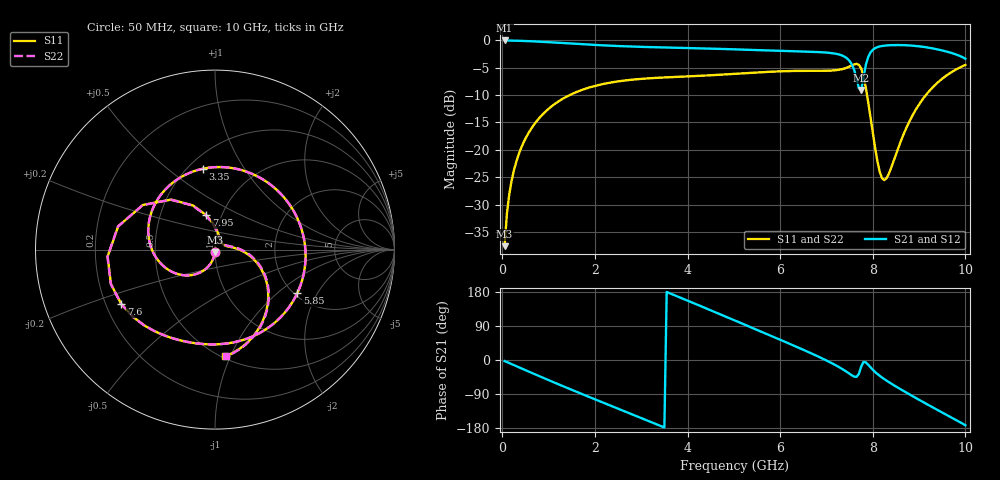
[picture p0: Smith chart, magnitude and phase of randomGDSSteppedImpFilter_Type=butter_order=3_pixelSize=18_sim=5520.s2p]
! freq	dB(S11)	phase(S11)	dB(S12)	phase(S12)
!  dB(S21)	phase(S21)	dB(S22)	phase(S22)
!S-par simulation data
#  GHz  S  DB  R 50
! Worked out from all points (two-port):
!   200 points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, 50 MHz to 10 GHz, reference 50 ohm
!   highest |S21| = -0.01 dB at 50 MHz (marker M1); lowest = -9.0 dB at 7.75 GHz (marker M2)
!   |S21| within 3 dB of the highest: start of sweep to 7.396 GHz; 7.903 GHz to 9.923 GHz (2.021 GHz wide, 22.7 % of centre)
!   lowest |S11| = -37.6 dB at 50 MHz (marker M3), VSWR 1.03, Z = 49.9 - j1.31 ohm
!   |S11| at or under -10 dB: start of sweep to 1.453 GHz; 7.877 GHz to 9.146 GHz (1.269 GHz wide, 14.9 % of centre)
!   |S22| runs from -37.6 to -4.3 dB; largest |S21 - S12| = 0
!   S11 on the Smith chart (normalised r, x): 50 MHz: 1.00, -0.03; 3.35 GHz: 0.59, +0.67; 5.85 GHz: 2.07, -1.38; 7.6 GHz: 0.26, -0.25; 7.95 GHz: 0.84, +0.34; 10 GHz: 0.52, -0.96
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0.05  -37.62 -92.2  -0.01 -2.7  -0.01 -2.7  -37.61 -92.2
0.2  -25.70 -100.9  -0.03 -10.8  -0.03 -10.8  -25.70 -100.9
0.5  -17.95 -117.3  -0.11 -26.9  -0.11 -26.9  -17.95 -117.3
1.15  -11.51 -151.5  -0.39 -60.9  -0.39 -60.9  -11.51 -151.5
1.75  -8.96 178.0  -0.71 -91.3  -0.71 -91.3  -8.96 178.1
2.6  -7.37 135.9  -1.06 -133.3  -1.06 -133.3  -7.37 136.0
3.35  -6.83 98.7  -1.26 -170.5  -1.26 -170.5  -6.83 98.9
3.4  -6.81 96.3  -1.27 -173.0  -1.27 -173.0  -6.81 96.4
4.15  -6.52 58.6  -1.42 149.1  -1.42 149.1  -6.52 58.8
5.05  -6.10 12.8  -1.64 102.8  -1.64 102.8  -6.10 13.0
5.85  -5.70 -27.9  -1.86 61.3  -1.86 61.3  -5.70 -27.8
6.7  -5.56 -72.6  -2.09 16.0  -2.09 16.0  -5.56 -72.6
7.25  -5.39 -107.4  -2.53 -17.3  -2.53 -17.3  -5.39 -107.4
7.6  -4.38 -150.0  -5.41 -43.9  -5.41 -43.9  -4.37 -149.9
7.75  -5.12 166.4  -9.04 -17.3  -9.04 -17.3  -5.10 166.7
7.85  -8.63 131.2  -4.50 -6.2  -4.50 -6.2  -8.58 131.7
7.95  -14.02 104.3  -2.21 -19.2  -2.21 -19.2  -13.94 105.4
8.15  -24.02 61.2  -1.10 -41.7  -1.10 -41.7  -23.89 64.7
8.35  -24.32 21.4  -0.88 -58.6  -0.88 -58.6  -24.39 25.3
9.05  -11.08 -22.8  -1.13 -108.5  -1.13 -108.5  -11.09 -21.7
9.55  -6.67 -53.5  -1.94 -141.8  -1.94 -141.8  -6.67 -52.9
10  -4.49 -84.5  -3.35 -172.3  -3.35 -172.3  -4.48 -83.8
